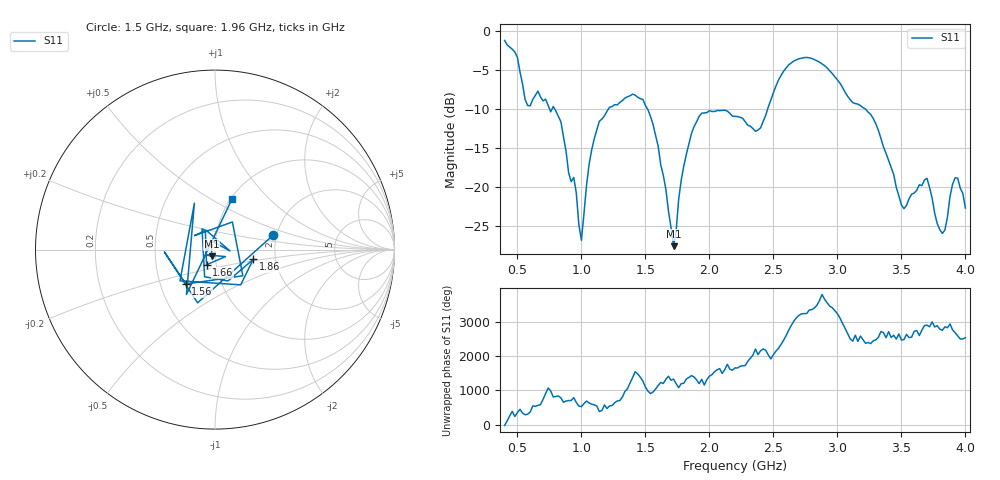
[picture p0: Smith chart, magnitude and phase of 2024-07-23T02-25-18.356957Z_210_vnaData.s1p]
!Created with skrf (http://scikit-rf.org).
# Hz S RI R 50.0
!freq ReS11 ImS11
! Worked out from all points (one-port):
!   181 points, 400 MHz to 4 GHz, reference 50 ohm
!   lowest |S11| = -27.6 dB at 1.72 GHz (marker M1), VSWR 1.09, Z = 48.1 - j3.63 ohm
!   |S11| at or under -10 dB: 790.5 MHz to 1.212 GHz (421.5 MHz wide, 42.1 % of centre); 1.516 GHz to 2.456 GHz (940.1 MHz wide, 47.3 % of centre); 3.216 GHz to end of sweep (the widest 3 of 4)
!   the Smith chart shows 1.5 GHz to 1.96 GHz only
!   S11 on the Smith chart (normalised r, x): 1.5 GHz: 1.91, +0.34; 1.56 GHz: 0.68, -0.28; 1.66 GHz: 0.90, -0.15; 1.86 GHz: 1.53, -0.17; 1.96 GHz: 1.01, +0.63
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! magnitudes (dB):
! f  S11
! 400 MHz  -1.3
! 500 MHz  -3.4
! 580 MHz  -9.6
! 660 MHz  -7.7
! 860 MHz  -13.6
! 940 MHz  -18.8
! 1 GHz  -26.8
! 1.1 GHz  -13.8
! 1.3 GHz  -9.2
! 1.5 GHz  -9.6
! 1.56 GHz  -12.0
! 1.66 GHz  -20.3
! 1.72 GHz  -27.6
! 1.76 GHz  -21.5
! 1.86 GHz  -13.1
! 1.96 GHz  -10.5
! 2.2 GHz  -11.0
! 2.4 GHz  -12.4
! 2.66 GHz  -3.9
! 2.88 GHz  -4.3
! 3.1 GHz  -8.8
! 3.28 GHz  -11.2
! 3.5 GHz  -22.3
! 3.56 GHz  -21.5
! 3.7 GHz  -18.9
! 3.82 GHz  -25.9
! 3.92 GHz  -18.8
! 4 GHz  -22.7
